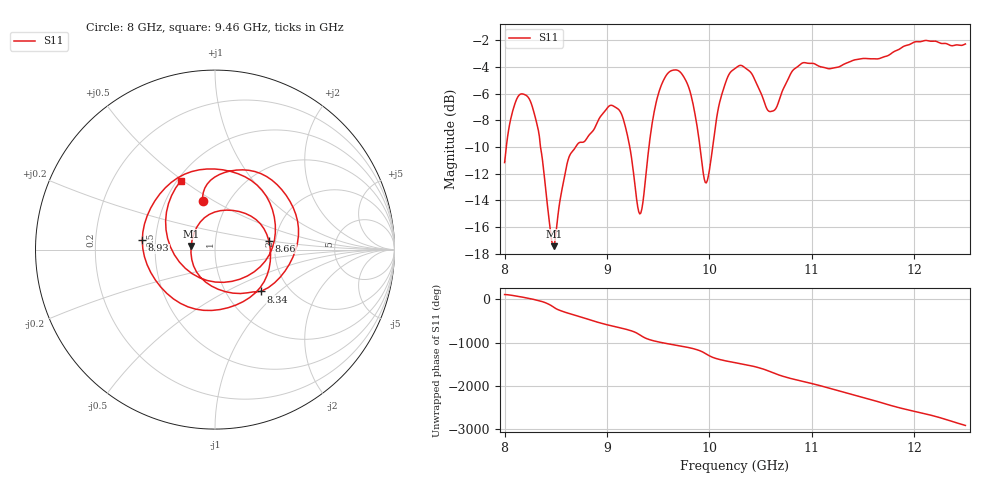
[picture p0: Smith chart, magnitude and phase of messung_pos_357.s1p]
#  HZ  S  RI  R  50.00
! Rohde & Schwarz Vector Network Analyzer
! Rohde-Schwarz,ZNA43-4Port,1332450044101932,2.92
! Created: UTC 6/1/2026, 11:33:40 AM
! freq[Hz]  re:S11  im:S11
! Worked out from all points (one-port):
!   451 points, 8 GHz to 12.5 GHz, reference 50 ohm
!   lowest |S11| = -17.4 dB at 8.48 GHz (marker M1), VSWR 1.31, Z = 38.2 + j1.53 ohm
!   |S11| at or under -10 dB: 8.351 GHz to 8.693 GHz (342.3 MHz wide, 4.02 % of centre); 9.222 GHz to 9.409 GHz (186.8 MHz wide, 2 % of centre); 9.908 GHz to 10.03 GHz (123.4 MHz wide, 1.24 % of centre)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
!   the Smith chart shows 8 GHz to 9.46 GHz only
!   S11 on the Smith chart (normalised r, x): 8 GHz: 0.76, +0.44; 8.34 GHz: 1.45, -0.77; 8.66 GHz: 1.84, +0.20; 8.93 GHz: 0.42, +0.05; 9.46 GHz: 0.52, +0.49
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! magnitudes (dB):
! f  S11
! 8 GHz  -11.2
! 8.07 GHz  -7.6
! 8.15 GHz  -6.0
! 8.25 GHz  -6.5
! 8.34 GHz  -9.2
! 8.45 GHz  -16.5
! 8.48 GHz  -17.4
! 8.57 GHz  -12.8
! 8.66 GHz  -10.3
! 8.93 GHz  -7.8
! 9.03 GHz  -6.9
! 9.13 GHz  -7.3
! 9.21 GHz  -9.5
! 9.32 GHz  -15.0
! 9.35 GHz  -14.2
! 9.46 GHz  -7.4
! 9.56 GHz  -4.9
! 9.69 GHz  -4.2
! 9.82 GHz  -6.1
! 9.97 GHz  -12.7
! 10.11 GHz  -6.3
! 10.25 GHz  -4.1
! 10.4 GHz  -4.4
! 10.6 GHz  -7.3
! 10.82 GHz  -4.2
! 11.38 GHz  -3.6
! 11.94 GHz  -2.3
! 12.5 GHz  -2.3
